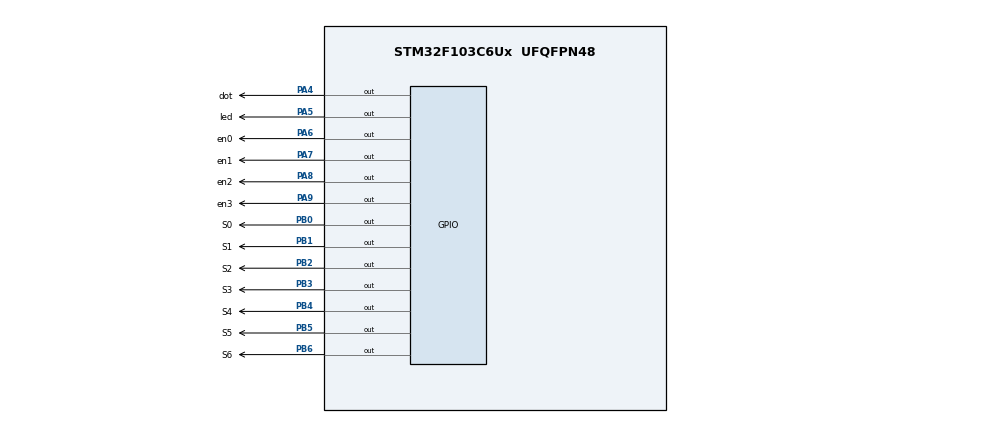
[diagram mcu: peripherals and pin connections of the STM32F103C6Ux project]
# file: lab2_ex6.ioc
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Mcu.Family=STM32F1
Mcu.Name=STM32F103C6Ux
Mcu.Package=UFQFPN48
NVIC.PriorityGroup=NVIC_PRIORITYGROUP_4
NVIC.TIM2_IRQn=true\:0\:0\:false\:false\:true\:true\:true
PA4.GPIO_Label=dot
PA4.Signal=GPIO_Output
PA5.GPIO_Label=led
PA5.Signal=GPIO_Output
PA6.GPIO_Label=en0
PA6.Signal=GPIO_Output
PA7.GPIO_Label=en1
PA7.Signal=GPIO_Output
PA8.GPIO_Label=en2
PA8.Signal=GPIO_Output
PA9.GPIO_Label=en3
PA9.Signal=GPIO_Output
PB0.GPIO_Label=S0
PB0.Signal=GPIO_Output
PB1.GPIO_Label=S1
PB1.Signal=GPIO_Output
PB2.GPIO_Label=S2
PB2.Signal=GPIO_Output
PB3.GPIO_Label=S3
PB3.Signal=GPIO_Output
PB4.GPIO_Label=S4
PB4.Signal=GPIO_Output
PB5.GPIO_Label=S5
PB5.Signal=GPIO_Output
PB6.GPIO_Label=S6
PB6.Signal=GPIO_Output
ProjectManager.HeapSize=0x200
ProjectManager.StackSize=0x400
ProjectManager.TargetToolchain=STM32CubeIDE
RCC.APB1Freq_Value=8000000
RCC.APB2Freq_Value=8000000
TIM2.Period=9
TIM2.Prescaler=7999
VP_SYS_VS_ND.Mode=No_Debug
VP_TIM2_VS_ClockSourceINT.Mode=Internal
board=custom

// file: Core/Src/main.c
/* USER CODE BEGIN Header */
/**
  ******************************************************************************
  * @file           : main.c
  * @brief          : Main program body
  ******************************************************************************
  * @attention
  *
  * <h2><center>&copy; Copyright (c) 2022 STMicroelectronics.
  * All rights reserved.</center></h2>
  *
  * This software component is licensed by ST under BSD 3-Clause license,
  * the "License"; You may not use this file except in compliance with the
  * License. You may obtain a copy of the License at:
  *                        opensource.org/licenses/BSD-3-Clause
  *
  ******************************************************************************
  */
/* USER CODE END Header */
#include "main.h"

TIM_HandleTypeDef htim2;

void SystemClock_Config(void);
static void MX_GPIO_Init(void);
static void MX_TIM2_Init(void);

/* USER CODE BEGIN 0 */
void updateClockBuffer();
void display7SEG(int num);
void update7SEG(int index);
int hour = 15 , minute = 8 , second = 50;

int timer0_counter = 0;
int timer0_flag = 0;
int TIMER_CYCLE = 10;
void setTimer0 ( int duration ) {
	timer0_counter = duration / TIMER_CYCLE ;
	timer0_flag = 0;
}
void timer_run () {
	if( timer0_counter > 0) {
		timer0_counter--;
		if( timer0_counter == 0)
			timer0_flag = 1;
	}
}
/* USER CODE END 0 */

int main(void)
{

  /* MCU Configuration--------------------------------------------------------*/

  /* Reset of all peripherals, Initializes the Flash interface and the Systick. */
  HAL_Init();

  /* Configure the system clock */
  SystemClock_Config();

  /* Initialize all configured peripherals */
  MX_GPIO_Init();
  MX_TIM2_Init();
  /* USER CODE BEGIN 2 */
  HAL_TIM_Base_Start_IT(& htim2);
  setTimer0(1000);
  /* USER CODE END 2 */

  /* Infinite loop */
  while (1)
  {

    /* USER CODE BEGIN 3 */
	  second++;
	  if (second >= 60) {
		  second = 0;
		  minute ++;
	  }
	  if(minute >= 60) {
		  minute = 0;
		  hour ++;
	  }
	  if(hour >= 24) {
		  hour = 0;
	  }
	  updateClockBuffer();
	  HAL_Delay(1000);

	  if(timer0_flag == 1) {
		  HAL_GPIO_TogglePin(GPIOA, led_Pin);
		  setTimer0(2000) ;
	  }
  }
  /* USER CODE END 3 */
}

void SystemClock_Config(void)
{
  RCC_OscInitTypeDef RCC_OscInitStruct = {0};
  RCC_ClkInitTypeDef RCC_ClkInitStruct = {0};

  /** Initializes the RCC Oscillators according to the specified parameters
  * in the RCC_OscInitTypeDef structure.
  */
  RCC_OscInitStruct.OscillatorType = RCC_OSCILLATORTYPE_HSI;
  RCC_OscInitStruct.HSIState = RCC_HSI_ON;
  RCC_OscInitStruct.HSICalibrationValue = RCC_HSICALIBRATION_DEFAULT;
  RCC_OscInitStruct.PLL.PLLState = RCC_PLL_NONE;
  if (HAL_RCC_OscConfig(&RCC_OscInitStruct) != HAL_OK)
  {
    Error_Handler();
  }
  /** Initializes the CPU, AHB and APB buses clocks
  */
  RCC_ClkInitStruct.ClockType = RCC_CLOCKTYPE_HCLK|RCC_CLOCKTYPE_SYSCLK
                              |RCC_CLOCKTYPE_PCLK1|RCC_CLOCKTYPE_PCLK2;
  RCC_ClkInitStruct.SYSCLKSource = RCC_SYSCLKSOURCE_HSI;
  RCC_ClkInitStruct.AHBCLKDivider = RCC_SYSCLK_DIV1;
  RCC_ClkInitStruct.APB1CLKDivider = RCC_HCLK_DIV1;
  RCC_ClkInitStruct.APB2CLKDivider = RCC_HCLK_DIV1;

  if (HAL_RCC_ClockConfig(&RCC_ClkInitStruct, FLASH_LATENCY_0) != HAL_OK)
  {
    Error_Handler();
  }
}

static void MX_TIM2_Init(void)
{

  TIM_ClockConfigTypeDef sClockSourceConfig = {0};
  TIM_MasterConfigTypeDef sMasterConfig = {0};

  htim2.Instance = TIM2;
  htim2.Init.Prescaler = 7999;
  htim2.Init.CounterMode = TIM_COUNTERMODE_UP;
  htim2.Init.Period = 9;
  htim2.Init.ClockDivision = TIM_CLOCKDIVISION_DIV1;
  htim2.Init.AutoReloadPreload = TIM_AUTORELOAD_PRELOAD_DISABLE;
  if (HAL_TIM_Base_Init(&htim2) != HAL_OK)
  {
    Error_Handler();
  }
  sClockSourceConfig.ClockSource = TIM_CLOCKSOURCE_INTERNAL;
  if (HAL_TIM_ConfigClockSource(&htim2, &sClockSourceConfig) != HAL_OK)
  {
    Error_Handler();
  }
  sMasterConfig.MasterOutputTrigger = TIM_TRGO_RESET;
  sMasterConfig.MasterSlaveMode = TIM_MASTERSLAVEMODE_DISABLE;
  if (HAL_TIMEx_MasterConfigSynchronization(&htim2, &sMasterConfig) != HAL_OK)
  {
    Error_Handler();
  }

}

static void MX_GPIO_Init(void)
{
  GPIO_InitTypeDef GPIO_InitStruct = {0};

  /* GPIO Ports Clock Enable */
  __HAL_RCC_GPIOA_CLK_ENABLE();
  __HAL_RCC_GPIOB_CLK_ENABLE();

  /*Configure GPIO pin Output Level */
  HAL_GPIO_WritePin(GPIOA, dot_Pin|led_Pin|en0_Pin|en1_Pin
                          |en2_Pin|en3_Pin, GPIO_PIN_RESET);

  /*Configure GPIO pin Output Level */
  HAL_GPIO_WritePin(GPIOB, S0_Pin|S1_Pin|S2_Pin|S3_Pin
                          |S4_Pin|S5_Pin|S6_Pin, GPIO_PIN_RESET);

  /*Configure GPIO pins : dot_Pin led_Pin en0_Pin en1_Pin
                           en2_Pin en3_Pin */
  GPIO_InitStruct.Pin = dot_Pin|led_Pin|en0_Pin|en1_Pin
                          |en2_Pin|en3_Pin;
  GPIO_InitStruct.Mode = GPIO_MODE_OUTPUT_PP;
  GPIO_InitStruct.Pull = GPIO_NOPULL;
  GPIO_InitStruct.Speed = GPIO_SPEED_FREQ_LOW;
  HAL_GPIO_Init(GPIOA, &GPIO_InitStruct);

  /*Configure GPIO pins : S0_Pin S1_Pin S2_Pin S3_Pin
                           S4_Pin S5_Pin S6_Pin */
  GPIO_InitStruct.Pin = S0_Pin|S1_Pin|S2_Pin|S3_Pin
                          |S4_Pin|S5_Pin|S6_Pin;
  GPIO_InitStruct.Mode = GPIO_MODE_OUTPUT_PP;
  GPIO_InitStruct.Pull = GPIO_NOPULL;
  GPIO_InitStruct.Speed = GPIO_SPEED_FREQ_LOW;
  HAL_GPIO_Init(GPIOB, &GPIO_InitStruct);

}

/* USER CODE BEGIN 4 */
void display7SEG(int num) {
	int dis_arr[10] = { 0x3f, 0x06, 0x5b, 0x4f, 0x66, 0x6d, 0x7d, 0x07, 0x7f, 0x6f };
	int bit_var, var2;

	var2 = ~dis_arr[num];
	bit_var = var2 & 0x01;
	HAL_GPIO_WritePin(GPIOB, S0_Pin, bit_var);

	bit_var = (var2>>1) & 0x01;
	HAL_GPIO_WritePin(GPIOB, S1_Pin, bit_var);

	bit_var = (var2>>2) & 0x01;
	HAL_GPIO_WritePin(GPIOB, S2_Pin, bit_var);

	bit_var = (var2>>3) & 0x01;
	HAL_GPIO_WritePin(GPIOB, S3_Pin, bit_var);

	bit_var = (var2>>4) & 0x01;
	HAL_GPIO_WritePin(GPIOB, S4_Pin, bit_var);

	bit_var = (var2>>5) & 0x01;
	HAL_GPIO_WritePin(GPIOB, S5_Pin, bit_var);

	bit_var = (var2>>6) & 0x01;
	HAL_GPIO_WritePin(GPIOB, S6_Pin, bit_var);
}

const int MAX_LED = 4;
int index_led = 0;
int led_buffer[4] = {1, 2, 3, 4};
void update7SEG(int index) {
	switch(index) {
	case 0:
	// Display the first 7 SEG with led_buffer [0]
		display7SEG(led_buffer[index]);
		index_led = 1;
		HAL_GPIO_WritePin(GPIOA, en0_Pin, RESET);
		HAL_GPIO_WritePin(GPIOA, en1_Pin, SET);
		HAL_GPIO_WritePin(GPIOA, en2_Pin, SET);
		HAL_GPIO_WritePin(GPIOA, en3_Pin, SET);
		break ;
	case 1:
	 // Display the second 7 SEG with led_buffer [1]
		display7SEG(led_buffer[index]);
		index_led = 2;
		HAL_GPIO_WritePin(GPIOA, en0_Pin, SET);
		HAL_GPIO_WritePin(GPIOA, en1_Pin, RESET);
		HAL_GPIO_WritePin(GPIOA, en2_Pin, SET);
		HAL_GPIO_WritePin(GPIOA, en3_Pin, SET);
		break ;
	case 2:
	// Display the third 7 SEG with led_buffer [2]
		display7SEG(led_buffer[index]);
		index_led = 3;
		HAL_GPIO_WritePin(GPIOA, en0_Pin, SET);
		HAL_GPIO_WritePin(GPIOA, en1_Pin, SET);
		HAL_GPIO_WritePin(GPIOA, en2_Pin, RESET);
		HAL_GPIO_WritePin(GPIOA, en3_Pin, SET);
		break ;
	case 3:
	// Display the forth 7 SEG with led_buffer [3]
		display7SEG(led_buffer[index]);
		index_led = 0;
		HAL_GPIO_WritePin(GPIOA, en0_Pin, SET);
		HAL_GPIO_WritePin(GPIOA, en1_Pin, SET);
		HAL_GPIO_WritePin(GPIOA, en2_Pin, SET);
		HAL_GPIO_WritePin(GPIOA, en3_Pin, RESET);
		break ;
	default :
		break ;
	}
}

int counter = 25;
int counter_2_leds = 4;
void HAL_TIM_PeriodElapsedCallback(TIM_HandleTypeDef *htim) {
	timer_run();

	counter--;
	if(counter <= 0) {
		counter = 25;
		counter_2_leds--;
		update7SEG(index_led);
		if(counter_2_leds <= 0) {
			HAL_GPIO_TogglePin(GPIOA, dot_Pin);
			counter_2_leds = 4;
		}
	}
}

void updateClockBuffer() {
	//update hour
	if(hour >= 10)
		led_buffer[0] = hour/10;
	else
		led_buffer[0] = 0;
	led_buffer[1] = hour%10;

	//update minute
	if(minute >= 10)
		led_buffer[2] = minute/10;
	else
		led_buffer[2] = 0;
	led_buffer[3] = minute%10;
}
/* USER CODE END 4 */

void Error_Handler(void)
{
  __disable_irq();
  while (1)
  {
  }
}

/************************ (C) COPYRIGHT STMicroelectronics *****END OF FILE****/
